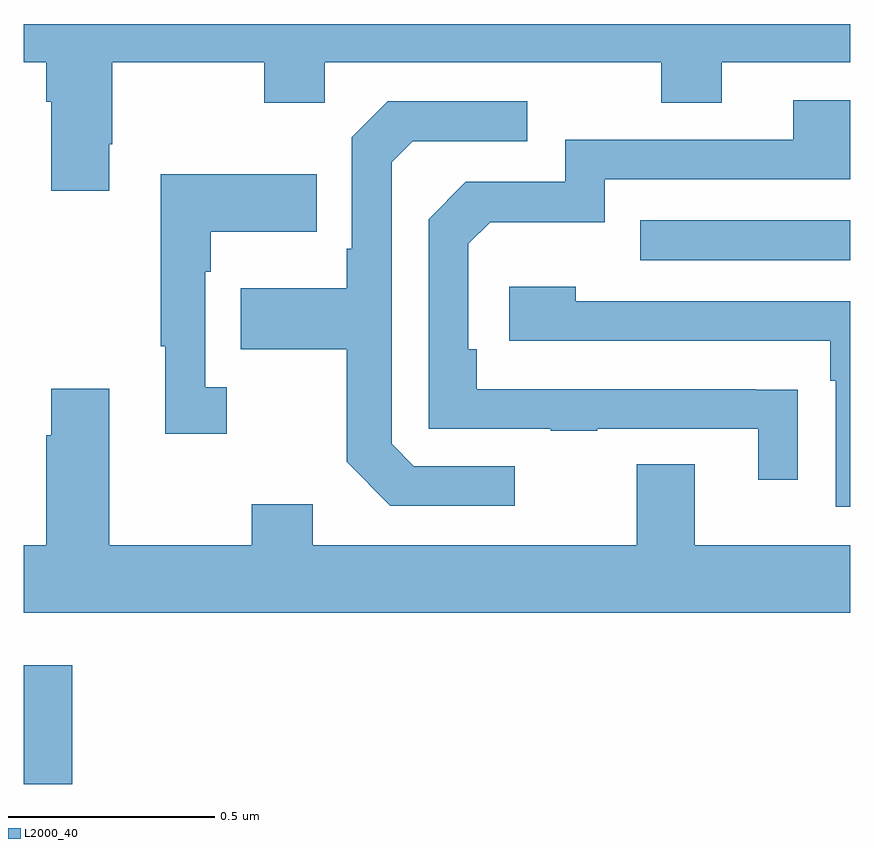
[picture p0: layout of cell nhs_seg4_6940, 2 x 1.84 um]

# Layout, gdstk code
import gdstk
lib = gdstk.Library(unit=1e-6, precision=1e-09)
def R(c, l, rs):  # rectangles x0, y0, x1, y1
    for r in rs: c.add(gdstk.rectangle(r[:2], r[2:], *l))
def P(c, l, *ps):  # polygons
    for p in ps: c.add(gdstk.Polygon(p, *l))
L2000_40 = (2000, 40)

nhs_seg4_6940 = lib.new_cell('nhs_seg4_6940')
R(nhs_seg4_6940, L2000_40, [(196,807.062,196.118,807.349), (197.491,808.329,198,808.425)])
P(nhs_seg4_6940, L2000_40, [(196.207,808.609),(196.215,808.609),(196.215,808.808),(196.582,808.808),(196.582,808.709),(196.728,808.709),(196.728,808.808),(197.542,808.808),(197.542,808.709),(197.689,808.709),(197.689,808.808),(198,808.808),(198,808.9),(196,808.9),(196,808.808),(196.055,808.808),(196.055,808.712),(196.067,808.712),(196.067,808.497),(196.207,808.497)],
  [(197.873,808.016),(197.771,808.016),(197.771,808.017),(197.096,808.017),(197.096,808.114),(197.076,808.114),(197.076,808.368),(197.129,808.421),(197.406,808.421),(197.406,808.524),(198,808.524),(198,808.716),(197.861,808.716),(197.861,808.62),(197.31,808.62),(197.31,808.518),(197.07,808.518),(196.98,808.428),(196.98,807.921),(197.275,807.921),(197.275,807.916),(197.387,807.916),(197.387,807.921),(197.777,807.921),(197.777,807.798),(197.873,807.798)],
  [(197.188,807.831),(196.944,807.831),(196.89,807.885),(196.89,808.566),(196.941,808.617),(197.218,808.617),(197.218,808.713),(196.881,808.713),(196.794,808.626),(196.794,808.357),(196.782,808.357),(196.782,808.261),(196.525,808.261),(196.525,808.114),(196.782,808.114),(196.782,807.841),(196.887,807.735),(197.188,807.735)],
  [(196.492,808.022),(196.44,808.022),(196.44,808.301),(196.453,808.301),(196.453,808.397),(196.709,808.397),(196.709,808.537),(196.332,808.537),(196.332,808.121),(196.343,808.121),(196.343,807.909),(196.492,807.909)],
  [(198,808.23),(197.336,808.23),(197.336,808.264),(197.175,808.264),(197.175,808.134),(197.951,808.134),(197.951,808.037),(197.964,808.037),(197.964,807.732),(198,807.732)],
  [(198,807.64),(197.623,807.64),(197.623,807.835),(197.483,807.835),(197.483,807.64),(196.699,807.64),(196.699,807.739),(196.552,807.739),(196.552,807.64),(196.207,807.64),(196.207,808.018),(196.067,808.018),(196.067,807.905),(196.055,807.905),(196.055,807.64),(196,807.64),(196,807.476),(198,807.476)])

lib.write_gds('nhs_seg4_6940.gds')
